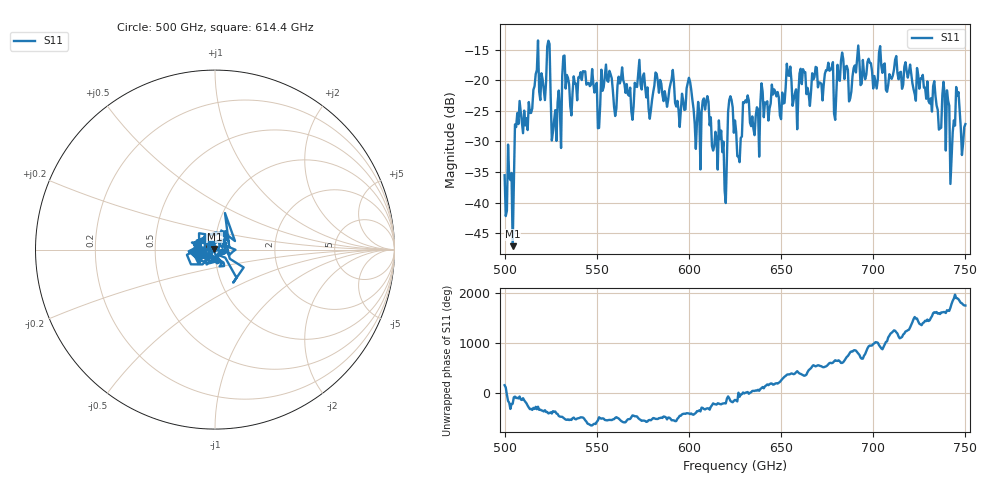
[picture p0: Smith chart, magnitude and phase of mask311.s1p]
!Created with skrf (http://scikit-rf.org).
# GHz S MA R 50.0
!freq magS11 angS11
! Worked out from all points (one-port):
!   401 points, 500 GHz to 750 GHz, reference 50 ohm
!   lowest |S11| = -47.1 dB at 504.4 GHz (marker M1), VSWR 1.01, Z = 49.7 + j0.316 ohm
!   |S11| at or under -10 dB: start of sweep to end of sweep
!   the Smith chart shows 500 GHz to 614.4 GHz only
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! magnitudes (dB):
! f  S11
! 500 GHz  -35.5
! 504.4 GHz  -47.1
! 506.9 GHz  -25.4
! 513.8 GHz  -25.3
! 516.9 GHz  -19.0
! 523.8 GHz  -13.6
! 526.9 GHz  -26.5
! 531.2 GHz  -19.3
! 562.5 GHz  -20.5
! 579.4 GHz  -24.9
! 590.6 GHz  -19.8
! 593.8 GHz  -23.4
! 600 GHz  -19.6
! 605 GHz  -23.5
! 609.4 GHz  -23.5
! 619.4 GHz  -38.0
! 622.5 GHz  -22.6
! 625 GHz  -26.6
! 656.2 GHz  -24.2
! 680 GHz  -22.1
! 683.8 GHz  -16.6
! 687.5 GHz  -23.0
! 691.2 GHz  -16.6
! 718.8 GHz  -19.6
! 739.4 GHz  -31.5
! 743.1 GHz  -28.5
! 745.6 GHz  -22.5
! 750 GHz  -27.2
